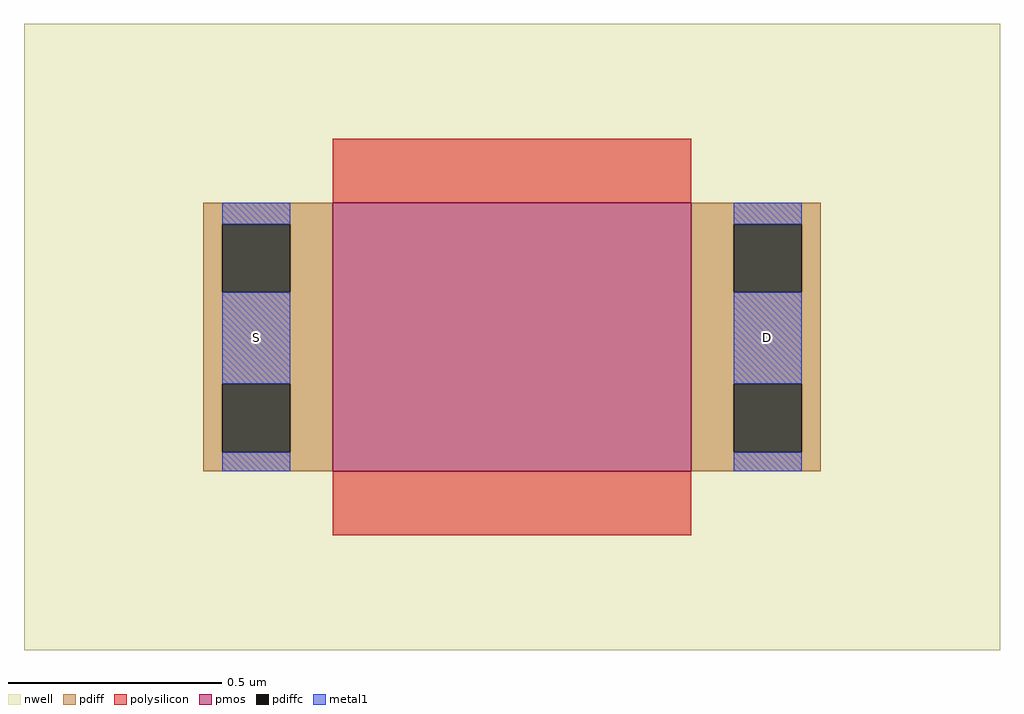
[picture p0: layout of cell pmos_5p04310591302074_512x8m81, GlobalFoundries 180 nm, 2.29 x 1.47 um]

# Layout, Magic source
magic
tech gf180mcuD
magscale 1 10
<< nwell >>
rect -145 -84 313 210
<< pmos >>
rect 0 0 168 126
<< pdiff >>
rect -61 116 0 126
rect -61 84 -52 116
rect -20 84 0 116
rect -61 41 0 84
rect -61 9 -52 41
rect -20 9 0 41
rect -61 0 0 9
rect 168 116 229 126
rect 168 84 188 116
rect 220 84 229 116
rect 168 41 229 84
rect 168 9 188 41
rect 220 9 229 41
rect 168 0 229 9
<< pdiffc >>
rect -52 84 -20 116
rect -52 9 -20 41
rect 188 84 220 116
rect 188 9 220 41
<< polysilicon >>
rect 0 126 168 156
rect 0 -30 168 0
<< metal1 >>
rect -52 116 -20 126
rect -52 41 -20 84
rect -52 0 -20 9
rect 188 116 220 126
rect 188 41 220 84
rect 188 0 220 9
<< labels >>
flabel metal1 -36 63 -36 63 0 FreeSans 280 0 0 0 S
flabel metal1 204 63 204 63 0 FreeSans 280 0 0 0 D
<< end >>
